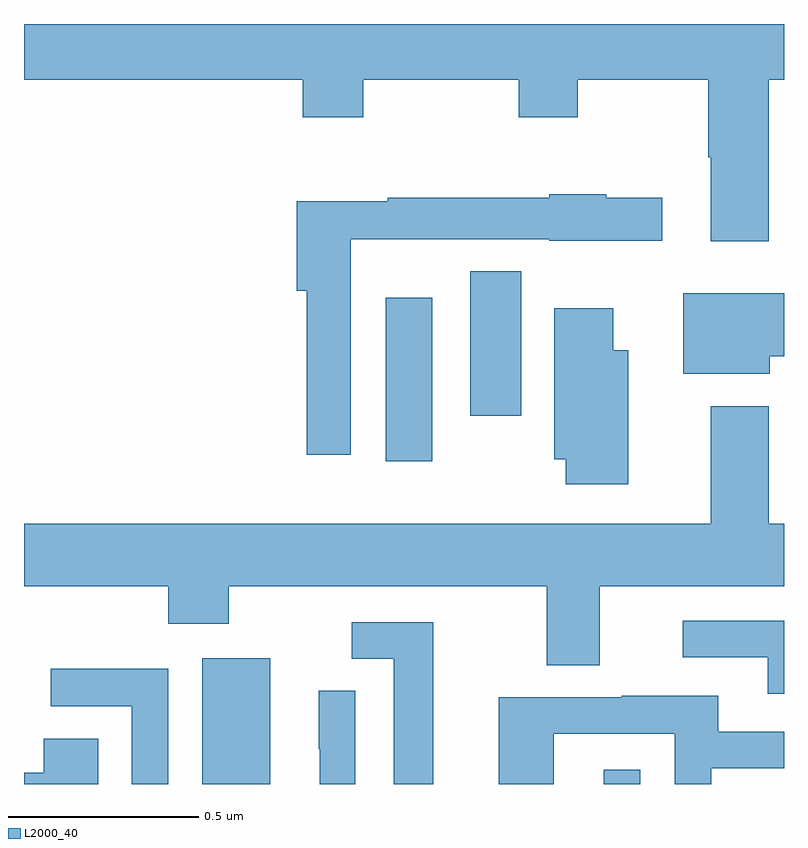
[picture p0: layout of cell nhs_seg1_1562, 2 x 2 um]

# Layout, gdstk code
import gdstk
lib = gdstk.Library(unit=1e-6, precision=1e-09)
def R(c, l, rs):  # rectangles x0, y0, x1, y1
    for r in rs: c.add(gdstk.rectangle(r[:2], r[2:], *l))
def P(c, l, *ps):  # polygons
    for p in ps: c.add(gdstk.Polygon(p, *l))
L2000_40 = (2000, 40)

nhs_seg1_1562 = lib.new_cell('nhs_seg1_1562')
R(nhs_seg1_1562, L2000_40, [(130.469,563.199,130.648,563.53), (131.525,563.199,131.622,563.236), (130.952,564.048,131.074,564.478), (131.174,564.168,131.308,564.548)])
P(nhs_seg1_1562, L2000_40, [(131.96,565.052),(132,565.052),(132,565.199),(130,565.199),(130,565.052),(130.733,565.052),(130.733,564.953),(130.893,564.953),(130.893,565.052),(131.302,565.052),(131.302,564.953),(131.457,564.953),(131.457,565.052),(131.8,565.052),(131.8,564.848),(131.807,564.848),(131.807,564.627),(131.96,564.627)],
  [(130.86,564.632),(131.07,564.632),(131.07,564.633),(131.382,564.633),(131.382,564.629),(131.68,564.629),(131.68,564.742),(131.532,564.742),(131.532,564.751),(131.382,564.751),(131.382,564.742),(130.957,564.742),(130.957,564.732),(130.718,564.732),(130.718,564.497),(130.744,564.497),(130.744,564.066),(130.86,564.066)],
  [(131.962,564.325),(132,564.325),(132,564.49),(131.735,564.49),(131.735,564.278),(131.962,564.278)],
  [(131.59,564.34),(131.551,564.34),(131.551,564.451),(131.396,564.451),(131.396,564.053),(131.425,564.053),(131.425,563.988),(131.59,563.988)],
  [(131.515,563.72),(132,563.72),(132,563.884),(131.96,563.884),(131.96,564.193),(131.807,564.193),(131.807,563.884),(130,563.884),(130,563.72),(130.379,563.72),(130.379,563.621),(130.539,563.621),(130.539,563.72),(131.375,563.72),(131.375,563.512),(131.515,563.512)],
  [(132,563.628),(131.733,563.628),(131.733,563.532),(131.957,563.532),(131.957,563.436),(132,563.436)],
  [(131.077,563.625),(130.863,563.625),(130.863,563.529),(130.973,563.529),(130.973,563.199),(131.077,563.199)],
  [(130.38,563.502),(130.071,563.502),(130.071,563.403),(130.284,563.403),(130.284,563.199),(130.38,563.199)],
  [(130.872,563.444),(130.776,563.444),(130.776,563.29),(130.778,563.29),(130.778,563.199),(130.872,563.199)],
  [(131.394,563.331),(131.712,563.331),(131.712,563.199),(131.808,563.199),(131.808,563.241),(132,563.241),(132,563.337),(131.827,563.337),(131.827,563.431),(131.573,563.431),(131.573,563.427),(131.249,563.427),(131.249,563.199),(131.394,563.199)],
  [(130.195,563.318),(130.052,563.318),(130.052,563.228),(130,563.228),(130,563.199),(130.195,563.199)])

lib.write_gds('nhs_seg1_1562.gds')
